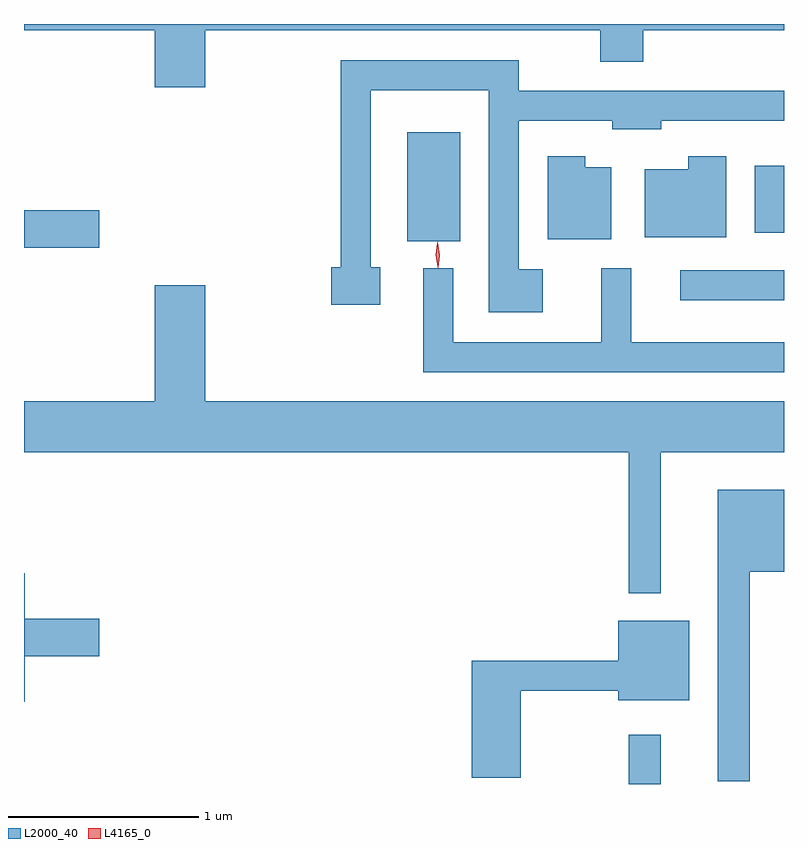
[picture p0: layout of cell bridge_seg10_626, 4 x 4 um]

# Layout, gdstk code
import gdstk
lib = gdstk.Library(unit=1e-6, precision=1e-09)
def R(c, l, rs):  # rectangles x0, y0, x1, y1
    for r in rs: c.add(gdstk.rectangle(r[:2], r[2:], *l))
def P(c, l, *ps):  # polygons
    for p in ps: c.add(gdstk.Polygon(p, *l))
L2000_40 = (2000, 40)
L4165_0 = (4165, 0)

bridge_seg10_626 = lib.new_cell('bridge_seg10_626')
R(bridge_seg10_626, L2000_40, [(757.031,2089.969,757.199,2090.228), (757.303,2092.516,757.849,2092.674), (753.849,2092.791,754.244,2092.989), (755.866,2092.826,756.144,2093.399), (757.696,2092.871,757.849,2093.224)])
P(bridge_seg10_626, L2000_40, [(754.804,2093.936),(756.881,2093.936),(756.881,2093.771),(757.109,2093.771),(757.109,2093.936),(757.849,2093.936),(757.849,2093.969),(753.849,2093.969),(753.849,2093.936),(754.536,2093.936),(754.536,2093.636),(754.804,2093.636)],
  [(756.579,2092.679),(756.454,2092.679),(756.454,2093.461),(756.946,2093.461),(756.946,2093.416),(757.204,2093.416),(757.204,2093.461),(757.849,2093.461),(757.849,2093.619),(756.454,2093.619),(756.454,2093.779),(755.516,2093.779),(755.516,2092.689),(755.466,2092.689),(755.466,2092.491),(755.724,2092.491),(755.724,2092.689),(755.674,2092.689),(755.674,2093.621),(756.296,2093.621),(756.296,2092.451),(756.579,2092.451)],
  [(756.939,2093.214),(756.804,2093.214),(756.804,2093.274),(756.606,2093.274),(756.606,2092.836),(756.939,2092.836)],
  [(757.544,2093.274),(757.346,2093.274),(757.346,2093.204),(757.116,2093.204),(757.116,2092.846),(757.544,2092.846)],
  [(757.849,2092.294),(757.044,2092.294),(757.044,2092.683),(756.886,2092.683),(756.886,2092.294),(756.109,2092.294),(756.109,2092.683),(755.951,2092.683),(755.951,2092.136),(757.849,2092.136)],
  [(757.199,2091.716),(757.849,2091.716),(757.849,2091.984),(754.804,2091.984),(754.804,2092.594),(754.536,2092.594),(754.536,2091.984),(753.849,2091.984),(753.849,2091.716),(757.031,2091.716),(757.031,2090.972),(757.199,2090.972)],
  [(757.669,2091.086),(757.849,2091.086),(757.849,2091.519),(757.501,2091.519),(757.501,2089.983),(757.669,2089.983)],
  [(753.854,2090.641),(754.244,2090.641),(754.244,2090.839),(753.854,2090.839),(753.854,2091.079),(753.849,2091.079),(753.849,2090.401),(753.854,2090.401)],
  [(756.464,2090.461),(756.976,2090.461),(756.976,2090.411),(757.349,2090.411),(757.349,2090.829),(756.976,2090.829),(756.976,2090.619),(756.206,2090.619),(756.206,2090.001),(756.464,2090.001)])
P(bridge_seg10_626, L4165_0, [(756.03,2092.684),(756.029,2092.685),(756.018,2092.753),(756.026,2092.821),(756.027,2092.822),(756.027,2092.821),(756.038,2092.753),(756.03,2092.685)],
  [(756.026,2092.688),(756.016,2092.754),(756.025,2092.819),(756.025,2092.819),(756.026,2092.819),(756.036,2092.754),(756.027,2092.688),(756.027,2092.688)])

lib.write_gds('bridge_seg10_626.gds')
